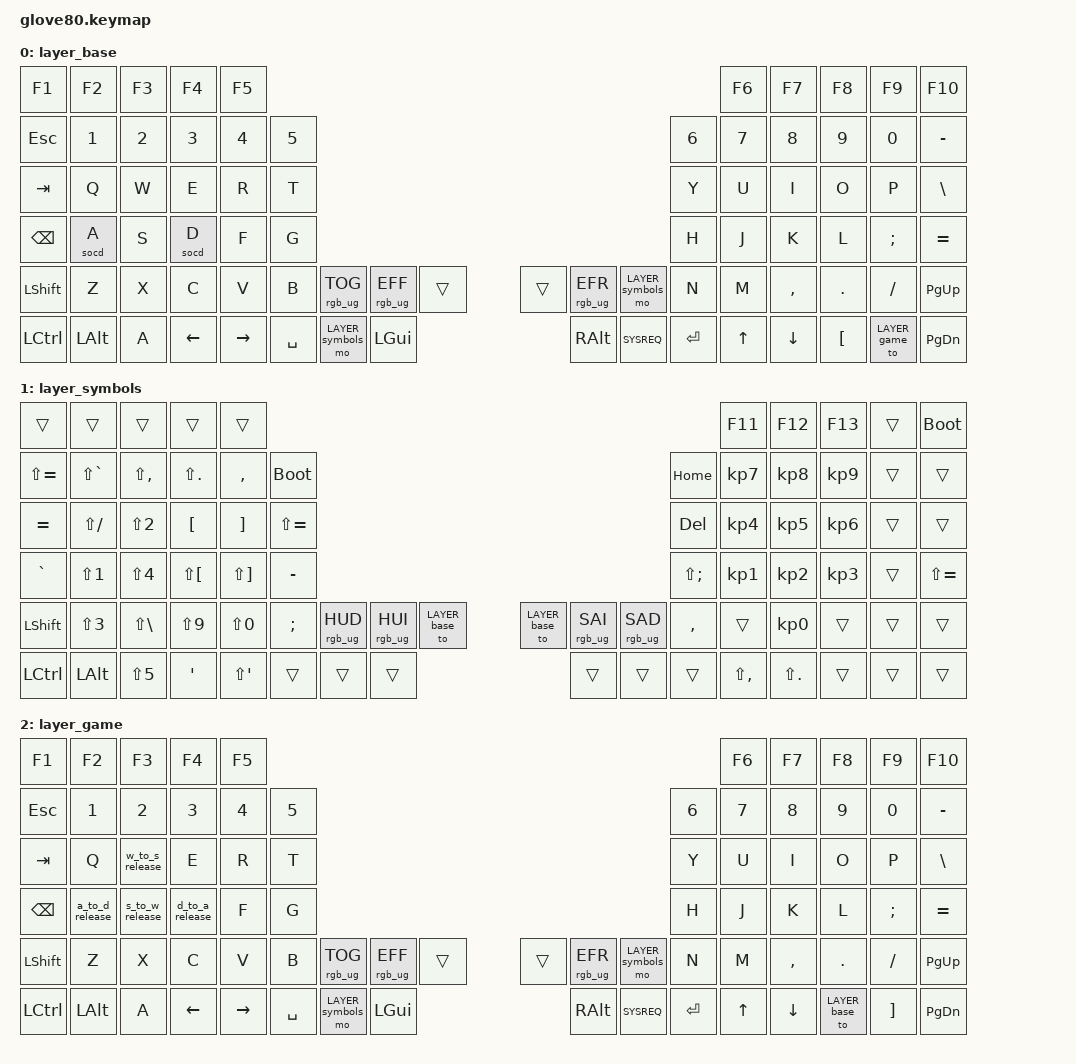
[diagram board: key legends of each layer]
/*
 * Copyright (c) 2020 The ZMK Contributors
 * Copyright (c) 2026 Innaworks Development Limited, trading as MoErgo
 *
 * SPDX-License-Identifier: MIT
 */

#include <behaviors.dtsi>
#include <behaviors/socd.dtsi>
/* Include all behavior includes needed */
#include <dt-bindings/zmk/outputs.h>
#include <dt-bindings/zmk/keys.h>
#include <dt-bindings/zmk/bt.h>
#include <dt-bindings/zmk/rgb.h>

/* On demand includes */


/* Helper Macros, based on https://github.com/urob/zmk-helpers/ */

#pragma once

#define ZMK_HELPER_STRINGIFY(x) #x

// Preprocessor mechanism to overload macros, cf. https://stackoverflow.com/a/27051616/6114651
#define VARGS_(_10, _9, _8, _7, _6, _5, _4, _3, _2, _1, N, ...) N
#define VARGS(...) VARGS_(__VA_ARGS__, 10, 9, 8, 7, 6, 5, 4, 3, 2, 1, 0)
#define CONCAT_(a, b) a##b
#define CONCAT(a, b) CONCAT_(a, b)

#define ZMK_BEHAVIOR_CORE_tap_dance  \
    compatible = "zmk,behavior-tap-dance"; \
    #binding-cells = <0>

#define ZMK_BEHAVIOR(name, type, ...) \
    name: name { \
        ZMK_BEHAVIOR_CORE_ ## type; \
        __VA_ARGS__ \
    };

#define ZMK_TAP_DANCE(name, ...) \
    ZMK_BEHAVIOR(name, tap_dance, __VA_ARGS__)

#define ZMK_TD_LAYER(name, layer) \
    ZMK_TAP_DANCE(name, \
        tapping-term-ms = <200>; \
        bindings = <&mo layer>, <&to layer>; \
)

/* Environment and metadata defines */
#define KB_TYPE_GLOVE_80 1
#define KB_TYPE_GO_60    2

#define KB_TYPE          KB_TYPE_GLOVE_80
#define EDITOR_HOST_OS   'L'

#define LAYER_base 0
#define LAYER_symbols 1
#define LAYER_game 2

/* To deal with the situation where there is no Lower layer, to keep &lower happy */
#ifndef LAYER_Lower
#define LAYER_Lower 0
#endif

/* Custom Device-tree */


/* Input Listeners */


/* System behavior and Macros */
/ {
    behaviors {
        ZMK_TD_LAYER(lower, LAYER_Lower)
    };
};

/ {
    macros {
        rgb_ug_status_macro: rgb_ug_status_macro {
            label = "RGB_UG_STATUS";
            compatible = "zmk,behavior-macro";
            #binding-cells = <0>;
            bindings
                = <&rgb_ug RGB_STATUS>;
        };
    };
};


/ {
#ifdef BT_DISC_CMD
    behaviors {
        bt_0: bt_0 {
            compatible = "zmk,behavior-tap-dance";
            label = "BT_0";
            #binding-cells = <0>;
            tapping-term-ms = <200>;
            bindings = <&bt_select_0>, <&bt BT_DISC 0>;
        };
        bt_1: bt_1 {
            compatible = "zmk,behavior-tap-dance";
            label = "BT_1";
            #binding-cells = <0>;
            tapping-term-ms = <200>;
            bindings = <&bt_select_1>, <&bt BT_DISC 1>;
        };
        bt_2: bt_2 {
            compatible = "zmk,behavior-tap-dance";
            label = "BT_2";
            #binding-cells = <0>;
            tapping-term-ms = <200>;
            bindings = <&bt_select_2>, <&bt BT_DISC 2>;
        };
        bt_3: bt_3 {
            compatible = "zmk,behavior-tap-dance";
            label = "BT_3";
            #binding-cells = <0>;
            tapping-term-ms = <200>;
            bindings = <&bt_select_3>, <&bt BT_DISC 3>;
        };
    };
    macros {
        bt_select_0: bt_select_0 {
            label = "BT_SELECT_0";
            compatible = "zmk,behavior-macro";
            #binding-cells = <0>;
            bindings
                = <&out OUT_BLE>,
                  <&bt BT_SEL 0>;
        };
        bt_select_1: bt_select_1 {
            label = "BT_SELECT_1";
            compatible = "zmk,behavior-macro";
            #binding-cells = <0>;
            bindings
                = <&out OUT_BLE>,
                  <&bt BT_SEL 1>;
        };
        bt_select_2: bt_select_2 {
            label = "BT_SELECT_2";
            compatible = "zmk,behavior-macro";
            #binding-cells = <0>;
            bindings
                = <&out OUT_BLE>,
                  <&bt BT_SEL 2>;
        };
        bt_select_3: bt_select_3 {
            label = "BT_SELECT_3";
            compatible = "zmk,behavior-macro";
            #binding-cells = <0>;
            bindings
                = <&out OUT_BLE>,
                  <&bt BT_SEL 3>;
        };
    };
#else
    macros {
        bt_0: bt_0 {
            label = "BT_0";
            compatible = "zmk,behavior-macro";
            #binding-cells = <0>;
            bindings
                = <&out OUT_BLE>,
                  <&bt BT_SEL 0>;
        };
        bt_1: bt_1 {
            label = "BT_1";
            compatible = "zmk,behavior-macro";
            #binding-cells = <0>;
            bindings
                = <&out OUT_BLE>,
                  <&bt BT_SEL 1>;
        };
        bt_2: bt_2 {
            label = "BT_2";
            compatible = "zmk,behavior-macro";
            #binding-cells = <0>;
            bindings
                = <&out OUT_BLE>,
                  <&bt BT_SEL 2>;
        };
        bt_3: bt_3 {
            label = "BT_3";
            compatible = "zmk,behavior-macro";
            #binding-cells = <0>;
            bindings
                = <&out OUT_BLE>,
                  <&bt BT_SEL 3>;
        };
    };
#endif
};

/ {
    behaviors {
        magic: magic {
            compatible = "zmk,behavior-hold-tap";
            label = "MAGIC_HOLD_TAP";
            #binding-cells = <2>;
            flavor = "tap-preferred";
            tapping-term-ms = <200>;
            bindings = <&mo>, <&rgb_ug_status_macro>;
        };
    };
};


/* Key positions */

#define POS_LH_C6R1 0
#define POS_LH_C5R1 1
#define POS_LH_C4R1 2
#define POS_LH_C3R1 3
#define POS_LH_C2R1 4
#define POS_RH_C2R1 5
#define POS_RH_C3R1 6
#define POS_RH_C4R1 7
#define POS_RH_C5R1 8
#define POS_RH_C6R1 9
#define POS_LH_C6R2 10
#define POS_LH_C5R2 11
#define POS_LH_C4R2 12
#define POS_LH_C3R2 13
#define POS_LH_C2R2 14
#define POS_LH_C1R2 15
#define POS_RH_C1R2 16
#define POS_RH_C2R2 17
#define POS_RH_C3R2 18
#define POS_RH_C4R2 19
#define POS_RH_C5R2 20
#define POS_RH_C6R2 21
#define POS_LH_C6R3 22
#define POS_LH_C5R3 23
#define POS_LH_C4R3 24
#define POS_LH_C3R3 25
#define POS_LH_C2R3 26
#define POS_LH_C1R3 27
#define POS_RH_C1R3 28
#define POS_RH_C2R3 29
#define POS_RH_C3R3 30
#define POS_RH_C4R3 31
#define POS_RH_C5R3 32
#define POS_RH_C6R3 33
#define POS_LH_C6R4 34
#define POS_LH_C5R4 35
#define POS_LH_C4R4 36
#define POS_LH_C3R4 37
#define POS_LH_C2R4 38
#define POS_LH_C1R4 39
#define POS_RH_C1R4 40
#define POS_RH_C2R4 41
#define POS_RH_C3R4 42
#define POS_RH_C4R4 43
#define POS_RH_C5R4 44
#define POS_RH_C6R4 45
#define POS_LH_C6R5 46
#define POS_LH_C5R5 47
#define POS_LH_C4R5 48
#define POS_LH_C3R5 49
#define POS_LH_C2R5 50
#define POS_LH_C1R5 51
#define POS_LH_T1 52
#define POS_LH_T2 53
#define POS_LH_T3 54
#define POS_RH_T3 55
#define POS_RH_T2 56
#define POS_RH_T1 57
#define POS_RH_C1R5 58
#define POS_RH_C2R5 59
#define POS_RH_C3R5 60
#define POS_RH_C4R5 61
#define POS_RH_C5R5 62
#define POS_RH_C6R5 63
#define POS_LH_C6R6 64
#define POS_LH_C5R6 65
#define POS_LH_C4R6 66
#define POS_LH_C3R6 67
#define POS_LH_C2R6 68
#define POS_LH_T4 69
#define POS_LH_T5 70
#define POS_LH_T6 71
#define POS_RH_T6 72
#define POS_RH_T5 73
#define POS_RH_T4 74
#define POS_RH_C2R6 75
#define POS_RH_C3R6 76
#define POS_RH_C4R6 77
#define POS_RH_C5R6 78
#define POS_RH_C6R6 79


/* Custom Defined Behaviors */
/ {
    behaviors {
        socd2: socd2 {
            compatible = "zmk,behavior-socd";
            #binding-cells = <1>;
            bindings = <&kp>;
        };
    };
    macros {
        a_to_d_release: a_to_d_release {
            compatible = "zmk,behavior-macro";
            #binding-cells = <0>;
            wait-ms = <0>;
            tap-ms = <0>;
            bindings
                = <&macro_press &kp A>
                , <&macro_pause_for_release>
                , <&macro_release &kp A>
                , <&macro_tap &kp D>;
        };

        d_to_a_release: d_to_a_release {
            compatible = "zmk,behavior-macro";
            #binding-cells = <0>;
            wait-ms = <0>;
            tap-ms = <0>;
            bindings
                = <&macro_press &kp D>
                , <&macro_pause_for_release>
                , <&macro_release &kp D>
                , <&macro_tap &kp A>;
        };

        w_to_s_release: w_to_s_release {
            compatible = "zmk,behavior-macro";
            #binding-cells = <0>;
            wait-ms = <0>;
            tap-ms = <0>;
            bindings
                = <&macro_press &kp W>
                , <&macro_pause_for_release>
                , <&macro_release &kp W>
                , <&macro_tap &kp S>;
        };

        s_to_w_release: s_to_w_release {
            compatible = "zmk,behavior-macro";
            #binding-cells = <0>;
            wait-ms = <0>;
            tap-ms = <0>;
            bindings
                = <&macro_press &kp S>
                , <&macro_pause_for_release>
                , <&macro_release &kp S>
                , <&macro_tap &kp W>;
        };
    };
};

/* Generated input processors */


/* Automatically generated macro definitions */
/ {
    macros {

    };
};

/* Automatically generated behavior definitions */
/ {
    behaviors {


    };
};

/* Automatically generated combos definitions */


/* Automatically generated keymap */
/ {
    keymap {
        compatible = "zmk,keymap";


        layer_base {
            bindings = <
    &kp F1    &kp F2  &kp F3    &kp F4     &kp F5                                                                                                              &kp F6     &kp F7    &kp F8    &kp F9    &kp F10
   &kp ESC    &kp N1  &kp N2    &kp N3     &kp N4  &kp N5                                                                                              &kp N6  &kp N7     &kp N8    &kp N9    &kp N0  &kp MINUS
   &kp TAB     &kp Q   &kp W     &kp E      &kp R   &kp T                                                                                               &kp Y   &kp U      &kp I     &kp O     &kp P   &kp BSLH
  &kp BSPC     &socd A   &kp S     &socd D      &kp F   &kp G                                                                                               &kp H   &kp J      &kp K     &kp L  &kp SEMI  &kp EQUAL
 &kp LSHFT     &kp Z   &kp X     &kp C      &kp V   &kp B  &rgb_ug RGB_TOG    &rgb_ug RGB_EFF    &trans    &trans  &rgb_ug RGB_EFR  &mo LAYER_symbols   &kp N   &kp M  &kp COMMA   &kp DOT  &kp FSLH  &kp PG_UP
 &kp LCTRL  &kp LALT   &kp A  &kp LEFT  &kp RIGHT                &kp SPACE  &mo LAYER_symbols  &kp LGUI  &kp RALT       &kp SYSREQ            &kp RET          &kp UP   &kp DOWN  &kp LBKT  &to LAYER_game  &kp PG_DN
            >;
        };

        layer_symbols {
            bindings = <
        &trans         &trans         &trans        &trans                &trans                                                                                                                                         &kp F11      &kp F12    &kp F13  &trans    &bootloader
 &kp LS(EQUAL)  &kp LS(GRAVE)  &kp LS(COMMA)   &kp LS(DOT)             &kp COMMA    &bootloader                                                                                                          &kp HOME      &kp KP_N7    &kp KP_N8  &kp KP_N9  &trans         &trans
     &kp EQUAL   &kp LS(FSLH)     &kp LS(N2)      &kp LBKT              &kp RBKT  &kp LS(EQUAL)                                                                                                           &kp DEL      &kp KP_N4    &kp KP_N5  &kp KP_N6  &trans         &trans
     &kp GRAVE     &kp LS(N1)     &kp LS(N4)  &kp LS(LBKT)          &kp LS(RBKT)      &kp MINUS                                                                                                      &kp LS(SEMI)      &kp KP_N1    &kp KP_N2  &kp KP_N3  &trans  &kp LS(EQUAL)
     &kp LSHFT     &kp LS(N3)   &kp LS(BSLH)    &kp LS(N9)            &kp LS(N0)       &kp SEMI  &rgb_ug RGB_HUD  &rgb_ug RGB_HUI  &to LAYER_base  &to LAYER_base  &rgb_ug RGB_SAI  &rgb_ug RGB_SAD     &kp COMMA         &trans    &kp KP_N0     &trans  &trans         &trans
     &kp LCTRL       &kp LALT     &kp LS(N5)       &kp SQT  &kp LS(SINGLE_QUOTE)                          &trans           &trans          &trans          &trans           &trans           &trans                &kp LS(COMMA)  &kp LS(DOT)     &trans  &trans         &trans
            >;
        };

        layer_game {
            bindings = <
    &kp F1    &kp F2  &kp F3    &kp F4     &kp F5                                                                                                              &kp F6     &kp F7    &kp F8    &kp F9    &kp F10
   &kp ESC    &kp N1  &kp N2    &kp N3     &kp N4  &kp N5                                                                                              &kp N6  &kp N7     &kp N8    &kp N9    &kp N0  &kp MINUS
   &kp TAB     &kp Q   &w_to_s_release     &kp E      &kp R   &kp T                                                                                               &kp Y   &kp U      &kp I     &kp O     &kp P   &kp BSLH
  &kp BSPC     &a_to_d_release   &s_to_w_release     &d_to_a_release      &kp F   &kp G                                                                                               &kp H   &kp J      &kp K     &kp L  &kp SEMI  &kp EQUAL
 &kp LSHFT     &kp Z   &kp X     &kp C      &kp V   &kp B  &rgb_ug RGB_TOG    &rgb_ug RGB_EFF    &trans    &trans  &rgb_ug RGB_EFR  &mo LAYER_symbols   &kp N   &kp M  &kp COMMA   &kp DOT  &kp FSLH  &kp PG_UP
 &kp LCTRL  &kp LALT   &kp A  &kp LEFT  &kp RIGHT                &kp SPACE  &mo LAYER_symbols  &kp LGUI  &kp RALT       &kp SYSREQ            &kp RET          &kp UP   &kp DOWN  &to LAYER_base  &kp RBKT  &kp PG_DN
            >;
        };

    };
};
